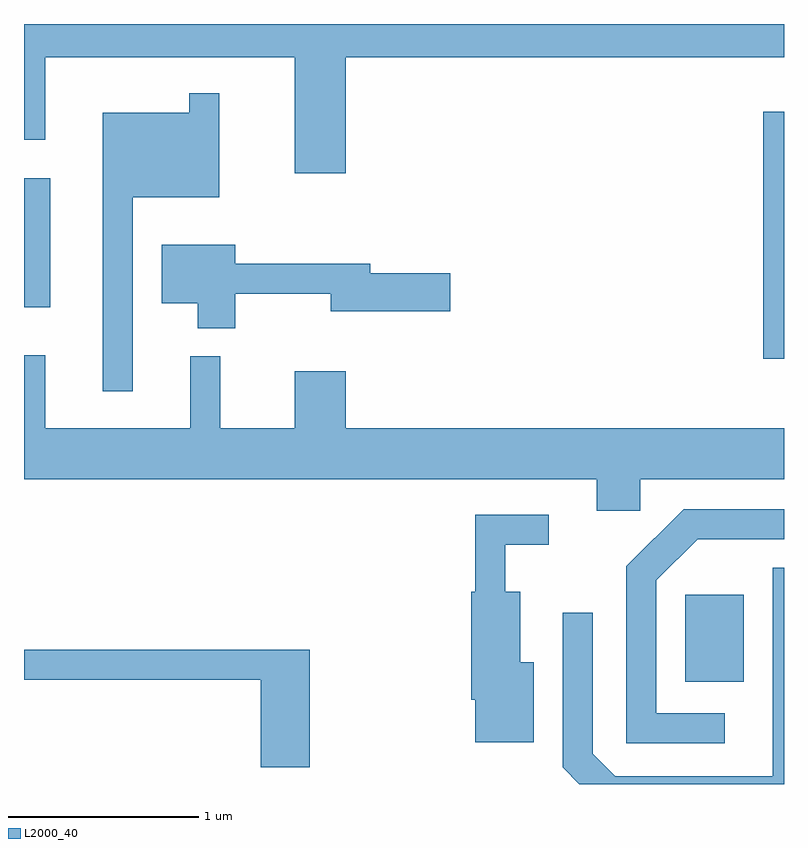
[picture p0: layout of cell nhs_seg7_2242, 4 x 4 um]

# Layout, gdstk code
import gdstk
lib = gdstk.Library(unit=1e-6, precision=1e-09)
def R(c, l, rs):  # rectangles x0, y0, x1, y1
    for r in rs: c.add(gdstk.rectangle(r[:2], r[2:], *l))
def P(c, l, *ps):  # polygons
    for p in ps: c.add(gdstk.Polygon(p, *l))
L2000_40 = (2000, 40)

nhs_seg7_2242 = lib.new_cell('nhs_seg7_2242')
R(nhs_seg7_2242, L2000_40, [(257.091,1728.791,257.399,1729.249), (257.501,1730.491,257.611,1731.789), (253.611,1730.761,253.749,1731.439)])
P(nhs_seg7_2242, L2000_40, [(255.304,1732.076),(257.611,1732.076),(257.611,1732.252),(253.611,1732.252),(253.611,1731.643),(253.724,1731.643),(253.724,1732.076),(255.036,1732.076),(255.036,1731.466),(255.304,1731.466)],
  [(254.184,1731.341),(254.639,1731.341),(254.639,1731.888),(254.481,1731.888),(254.481,1731.784),(254.026,1731.784),(254.026,1730.318),(254.184,1730.318)],
  [(254.724,1730.831),(255.226,1730.831),(255.226,1730.741),(255.854,1730.741),(255.854,1730.939),(255.434,1730.939),(255.434,1730.989),(254.724,1730.989),(254.724,1731.089),(254.336,1731.089),(254.336,1730.781),(254.526,1730.781),(254.526,1730.651),(254.724,1730.651)],
  [(256.854,1729.856),(257.611,1729.856),(257.611,1730.124),(255.304,1730.124),(255.304,1730.424),(255.036,1730.424),(255.036,1730.124),(254.644,1730.124),(254.644,1730.503),(254.486,1730.503),(254.486,1730.124),(253.724,1730.124),(253.724,1730.508),(253.611,1730.508),(253.611,1729.856),(256.626,1729.856),(256.626,1729.691),(256.854,1729.691)],
  [(257.298,1728.624),(256.939,1728.624),(256.939,1729.324),(257.157,1729.541),(257.611,1729.541),(257.611,1729.699),(257.084,1729.699),(256.781,1729.397),(256.781,1728.466),(257.298,1728.466)],
  [(256.294,1728.894),(256.224,1728.894),(256.224,1729.264),(256.144,1729.264),(256.144,1729.511),(256.373,1729.511),(256.373,1729.669),(255.986,1729.669),(255.986,1729.264),(255.966,1729.264),(255.966,1728.696),(255.986,1728.696),(255.986,1728.471),(256.294,1728.471)],
  [(257.611,1729.389),(257.551,1729.389),(257.551,1728.294),(256.722,1728.294),(256.604,1728.412),(256.604,1729.153),(256.446,1729.153),(256.446,1728.339),(256.533,1728.252),(257.611,1728.252)],
  [(255.114,1728.959),(253.611,1728.959),(253.611,1728.801),(254.856,1728.801),(254.856,1728.341),(255.114,1728.341)])

lib.write_gds('nhs_seg7_2242.gds')
